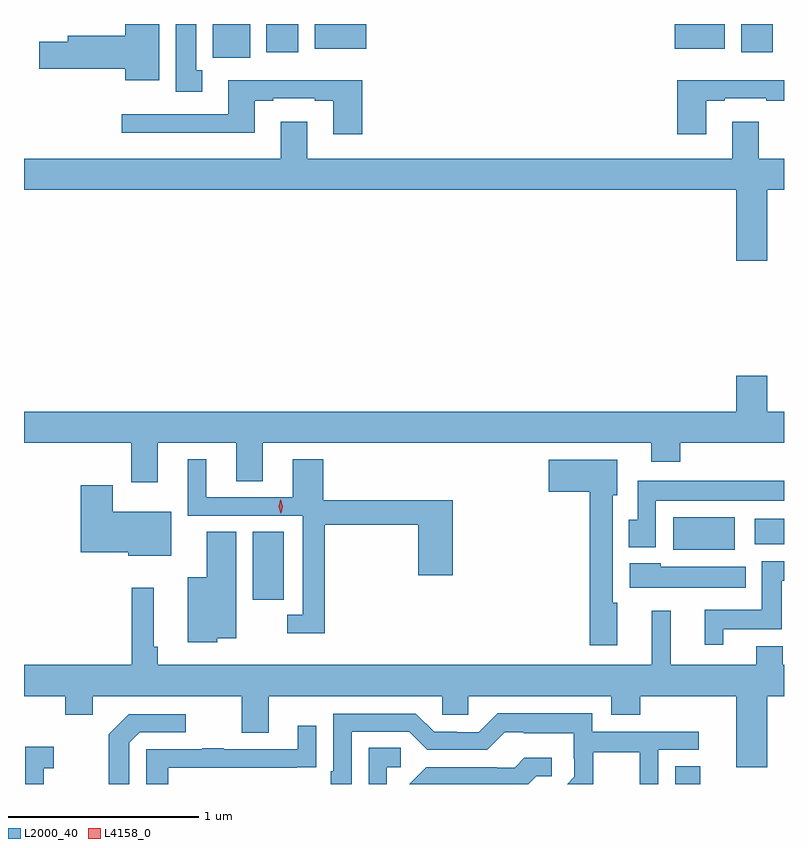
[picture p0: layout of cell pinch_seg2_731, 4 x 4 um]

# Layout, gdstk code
import gdstk
lib = gdstk.Library(unit=1e-6, precision=1e-09)
def R(c, l, rs):  # rectangles x0, y0, x1, y1
    for r in rs: c.add(gdstk.rectangle(r[:2], r[2:], *l))
def P(c, l, *ps):  # polygons
    for p in ps: c.add(gdstk.Polygon(p, *l))
L2000_40 = (2000, 40)
L4158_0 = (4158, 0)

pinch_seg2_731 = lib.new_cell('pinch_seg2_731')
R(pinch_seg2_731, L2000_40, [(871.979,631.189,872.11,631.283), (869.756,632.16,869.92,632.516), (871.97,632.423,872.293,632.593), (872.397,632.45,872.552,632.584), (869.546,635.012,869.743,635.189), (869.828,635.04,869.995,635.189), (872.327,635.04,872.494,635.189), (870.083,635.06,870.352,635.189), (871.976,635.06,872.239,635.189)])
P(pinch_seg2_731, L2000_40, [(869.491,634.946),(869.458,634.946),(869.458,635.189),(869.351,635.189),(869.351,634.833),(869.491,634.833)],
  [(869.263,635.188),(869.084,635.188),(869.084,635.126),(868.781,635.126),(868.781,635.096),(868.632,635.096),(868.632,634.954),(869.084,634.954),(869.084,634.892),(869.263,634.892)],
  [(872.143,634.785),(872.239,634.785),(872.239,634.797),(872.459,634.797),(872.459,634.785),(872.552,634.785),(872.552,634.894),(871.991,634.894),(871.991,634.608),(872.143,634.608)],
  [(870.332,634.894),(869.627,634.894),(869.627,634.713),(869.067,634.713),(869.067,634.616),(869.767,634.616),(869.767,634.785),(869.863,634.785),(869.863,634.797),(870.083,634.797),(870.083,634.785),(870.179,634.785),(870.179,634.608),(870.332,634.608)],
  [(872.464,634.316),(872.552,634.316),(872.552,634.48),(872.419,634.48),(872.419,634.675),(872.279,634.675),(872.279,634.48),(870.043,634.48),(870.043,634.675),(869.903,634.675),(869.903,634.48),(868.552,634.48),(868.552,634.316),(872.3,634.316),(872.3,633.942),(872.464,633.942)],
  [(869.257,632.984),(869.669,632.984),(869.669,632.782),(869.809,632.782),(869.809,632.984),(871.853,632.984),(871.853,632.885),(872.006,632.885),(872.006,632.984),(872.552,632.984),(872.552,633.148),(872.464,633.148),(872.464,633.337),(872.3,633.337),(872.3,633.148),(868.552,633.148),(868.552,632.984),(869.117,632.984),(869.117,632.778),(869.257,632.778)],
  [(870.134,632.554),(870.626,632.554),(870.626,632.289),(870.809,632.289),(870.809,632.683),(870.128,632.683),(870.128,632.899),(869.966,632.899),(869.966,632.697),(869.512,632.697),(869.512,632.899),(869.414,632.899),(869.414,632.601),(870.018,632.601),(870.018,632.079),(869.937,632.079),(869.937,631.982),(870.134,631.982)],
  [(871.675,632.142),(871.651,632.142),(871.651,632.709),(871.675,632.709),(871.675,632.896),(871.314,632.896),(871.314,632.726),(871.529,632.726),(871.529,631.92),(871.675,631.92)],
  [(871.878,632.681),(872.552,632.681),(872.552,632.785),(871.781,632.785),(871.781,632.58),(871.736,632.58),(871.736,632.436),(871.878,632.436)],
  [(869.326,632.623),(869.02,632.623),(869.02,632.761),(868.85,632.761),(868.85,632.408),(869.1,632.408),(869.1,632.39),(869.326,632.39)],
  [(869.568,631.955),(869.668,631.955),(869.668,632.516),(869.513,632.516),(869.513,632.278),(869.414,632.278),(869.414,631.934),(869.568,631.934)],
  [(872.233,632.003),(872.539,632.003),(872.539,632.258),(872.552,632.258),(872.552,632.362),(872.435,632.362),(872.435,632.107),(872.135,632.107),(872.135,631.923),(872.233,631.923)],
  [(872.35,632.332),(871.902,632.332),(871.902,632.35),(871.74,632.35),(871.74,632.222),(872.35,632.222)],
  [(872.464,631.652),(872.552,631.652),(872.552,631.816),(872.545,631.816),(872.545,631.915),(872.405,631.915),(872.405,631.816),(871.955,631.816),(871.955,632.101),(871.856,632.101),(871.856,631.816),(869.255,631.816),(869.255,631.912),(869.236,631.912),(869.236,632.221),(869.119,632.221),(869.119,631.816),(868.552,631.816),(868.552,631.652),(868.768,631.652),(868.768,631.553),(868.915,631.553),(868.915,631.652),(869.699,631.652),(869.699,631.458),(869.839,631.458),(869.839,631.652),(870.753,631.652),(870.753,631.554),(870.891,631.554),(870.891,631.652),(871.643,631.652),(871.643,631.553),(871.796,631.553),(871.796,631.652),(872.3,631.652),(872.3,631.278),(872.464,631.278)],
  [(870.276,631.464),(870.579,631.464),(870.675,631.368),(870.99,631.368),(871.083,631.461),(871.183,631.461),(871.183,631.457),(871.446,631.457),(871.446,631.323),(871.448,631.323),(871.448,631.226),(871.411,631.189),(871.547,631.189),(871.547,631.356),(871.792,631.356),(871.792,631.189),(871.89,631.189),(871.89,631.368),(872.104,631.368),(872.104,631.464),(871.542,631.464),(871.542,631.561),(871.045,631.561),(870.945,631.461),(870.83,631.461),(870.83,631.464),(870.711,631.464),(870.615,631.56),(870.18,631.56),(870.18,631.255),(870.167,631.255),(870.167,631.189),(870.276,631.189)],
  [(869.106,631.407),(869.16,631.461),(869.404,631.461),(869.404,631.557),(869.103,631.557),(868.998,631.451),(868.998,631.189),(869.106,631.189)],
  [(869.312,631.275),(869.987,631.275),(869.987,631.276),(870.089,631.276),(870.089,631.495),(869.993,631.495),(869.993,631.371),(869.603,631.371),(869.603,631.376),(869.491,631.376),(869.491,631.371),(869.196,631.371),(869.196,631.189),(869.312,631.189)],
  [(868.656,631.271),(868.708,631.271),(868.708,631.384),(868.559,631.384),(868.559,631.189),(868.656,631.189)],
  [(870.462,631.278),(870.535,631.278),(870.535,631.379),(870.366,631.379),(870.366,631.189),(870.462,631.189)],
  [(871.248,631.23),(871.33,631.23),(871.33,631.327),(871.186,631.327),(871.134,631.275),(871.04,631.275),(871.04,631.278),(870.668,631.278),(870.579,631.189),(871.207,631.189)])
P(pinch_seg2_731, L4158_0, [(869.904,632.613),(869.904,632.613),(869.893,632.649),(869.901,632.685),(869.901,632.686),(869.902,632.685),(869.913,632.65),(869.905,632.613)])

lib.write_gds('pinch_seg2_731.gds')
